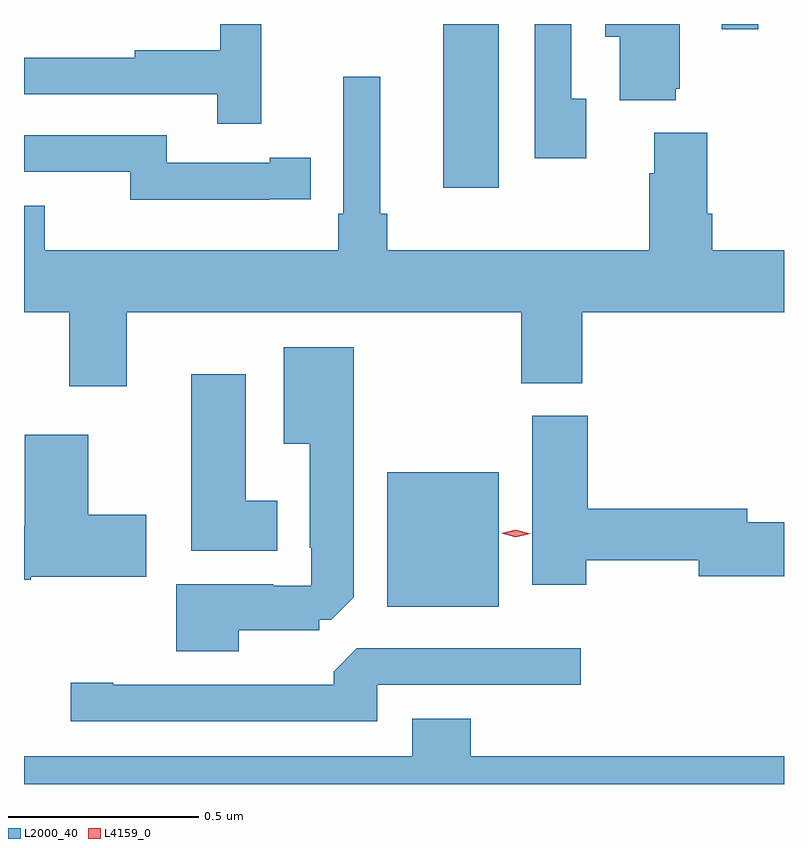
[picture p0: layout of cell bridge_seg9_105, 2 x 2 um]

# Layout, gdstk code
import gdstk
lib = gdstk.Library(unit=1e-6, precision=1e-09)
def R(c, l, rs):  # rectangles x0, y0, x1, y1
    for r in rs: c.add(gdstk.rectangle(r[:2], r[2:], *l))
def P(c, l, *ps):  # polygons
    for p in ps: c.add(gdstk.Polygon(p, *l))
L2000_40 = (2000, 40)
L4159_0 = (4159, 0)

bridge_seg9_105 = lib.new_cell('bridge_seg9_105')
R(bridge_seg9_105, L2000_40, [(773.249,1174.334,773.542,1174.687), (773.396,1175.436,773.542,1175.867), (774.129,1175.853,774.225,1175.867)])
P(bridge_seg9_105, L2000_40, [(772.917,1175.867),(772.809,1175.867),(772.809,1175.798),(772.585,1175.798),(772.585,1175.778),(772.293,1175.778),(772.293,1175.682),(772.801,1175.682),(772.801,1175.604),(772.917,1175.604)],
  [(774.008,1175.697),(774.019,1175.697),(774.019,1175.867),(773.822,1175.867),(773.822,1175.834),(773.861,1175.834),(773.861,1175.666),(774.008,1175.666)],
  [(773.773,1175.67),(773.733,1175.67),(773.733,1175.867),(773.637,1175.867),(773.637,1175.514),(773.773,1175.514)],
  [(772.564,1175.108),(773.602,1175.108),(773.602,1174.921),(773.762,1174.921),(773.762,1175.108),(774.293,1175.108),(774.293,1175.272),(774.104,1175.272),(774.104,1175.368),(774.091,1175.368),(774.091,1175.581),(773.951,1175.581),(773.951,1175.474),(773.939,1175.474),(773.939,1175.272),(773.249,1175.272),(773.249,1175.368),(773.23,1175.368),(773.23,1175.728),(773.133,1175.728),(773.133,1175.368),(773.12,1175.368),(773.12,1175.272),(772.348,1175.272),(772.348,1175.389),(772.293,1175.389),(772.293,1175.108),(772.412,1175.108),(772.412,1174.914),(772.564,1174.914)],
  [(772.94,1175.406),(773.048,1175.406),(773.048,1175.515),(772.94,1175.515),(772.94,1175.502),(772.668,1175.502),(772.668,1175.574),(772.293,1175.574),(772.293,1175.478),(772.572,1175.478),(772.572,1175.405),(772.94,1175.405)],
  [(772.858,1174.271),(773.07,1174.271),(773.07,1174.299),(773.101,1174.299),(773.161,1174.359),(773.161,1175.017),(772.976,1175.017),(772.976,1174.763),(773.045,1174.763),(773.045,1174.489),(773.049,1174.489),(773.049,1174.389),(772.949,1174.389),(772.949,1174.393),(772.694,1174.393),(772.694,1174.217),(772.858,1174.217)],
  [(772.96,1174.612),(772.876,1174.612),(772.876,1174.945),(772.733,1174.945),(772.733,1174.481),(772.96,1174.481)],
  [(773.772,1174.456),(774.068,1174.456),(774.068,1174.414),(774.293,1174.414),(774.293,1174.556),(774.196,1174.556),(774.196,1174.592),(773.777,1174.592),(773.777,1174.836),(773.63,1174.836),(773.63,1174.392),(773.772,1174.392)],
  [(772.311,1174.412),(772.615,1174.412),(772.615,1174.575),(772.462,1174.575),(772.462,1174.786),(772.295,1174.786),(772.295,1174.547),(772.293,1174.547),(772.293,1174.405),(772.311,1174.405)],
  [(773.223,1174.128),(773.758,1174.128),(773.758,1174.224),(773.169,1174.224),(773.108,1174.162),(773.108,1174.128),(772.528,1174.128),(772.528,1174.133),(772.416,1174.133),(772.416,1174.032),(773.223,1174.032)],
  [(774.293,1173.94),(773.468,1173.94),(773.468,1174.039),(773.315,1174.039),(773.315,1173.94),(772.293,1173.94),(772.293,1173.867),(774.293,1173.867)])
P(bridge_seg9_105, L4159_0, [(773.587,1174.516),(773.549,1174.527),(773.549,1174.527),(773.549,1174.527),(773.587,1174.536),(773.625,1174.526),(773.625,1174.525),(773.625,1174.525)])

lib.write_gds('bridge_seg9_105.gds')
